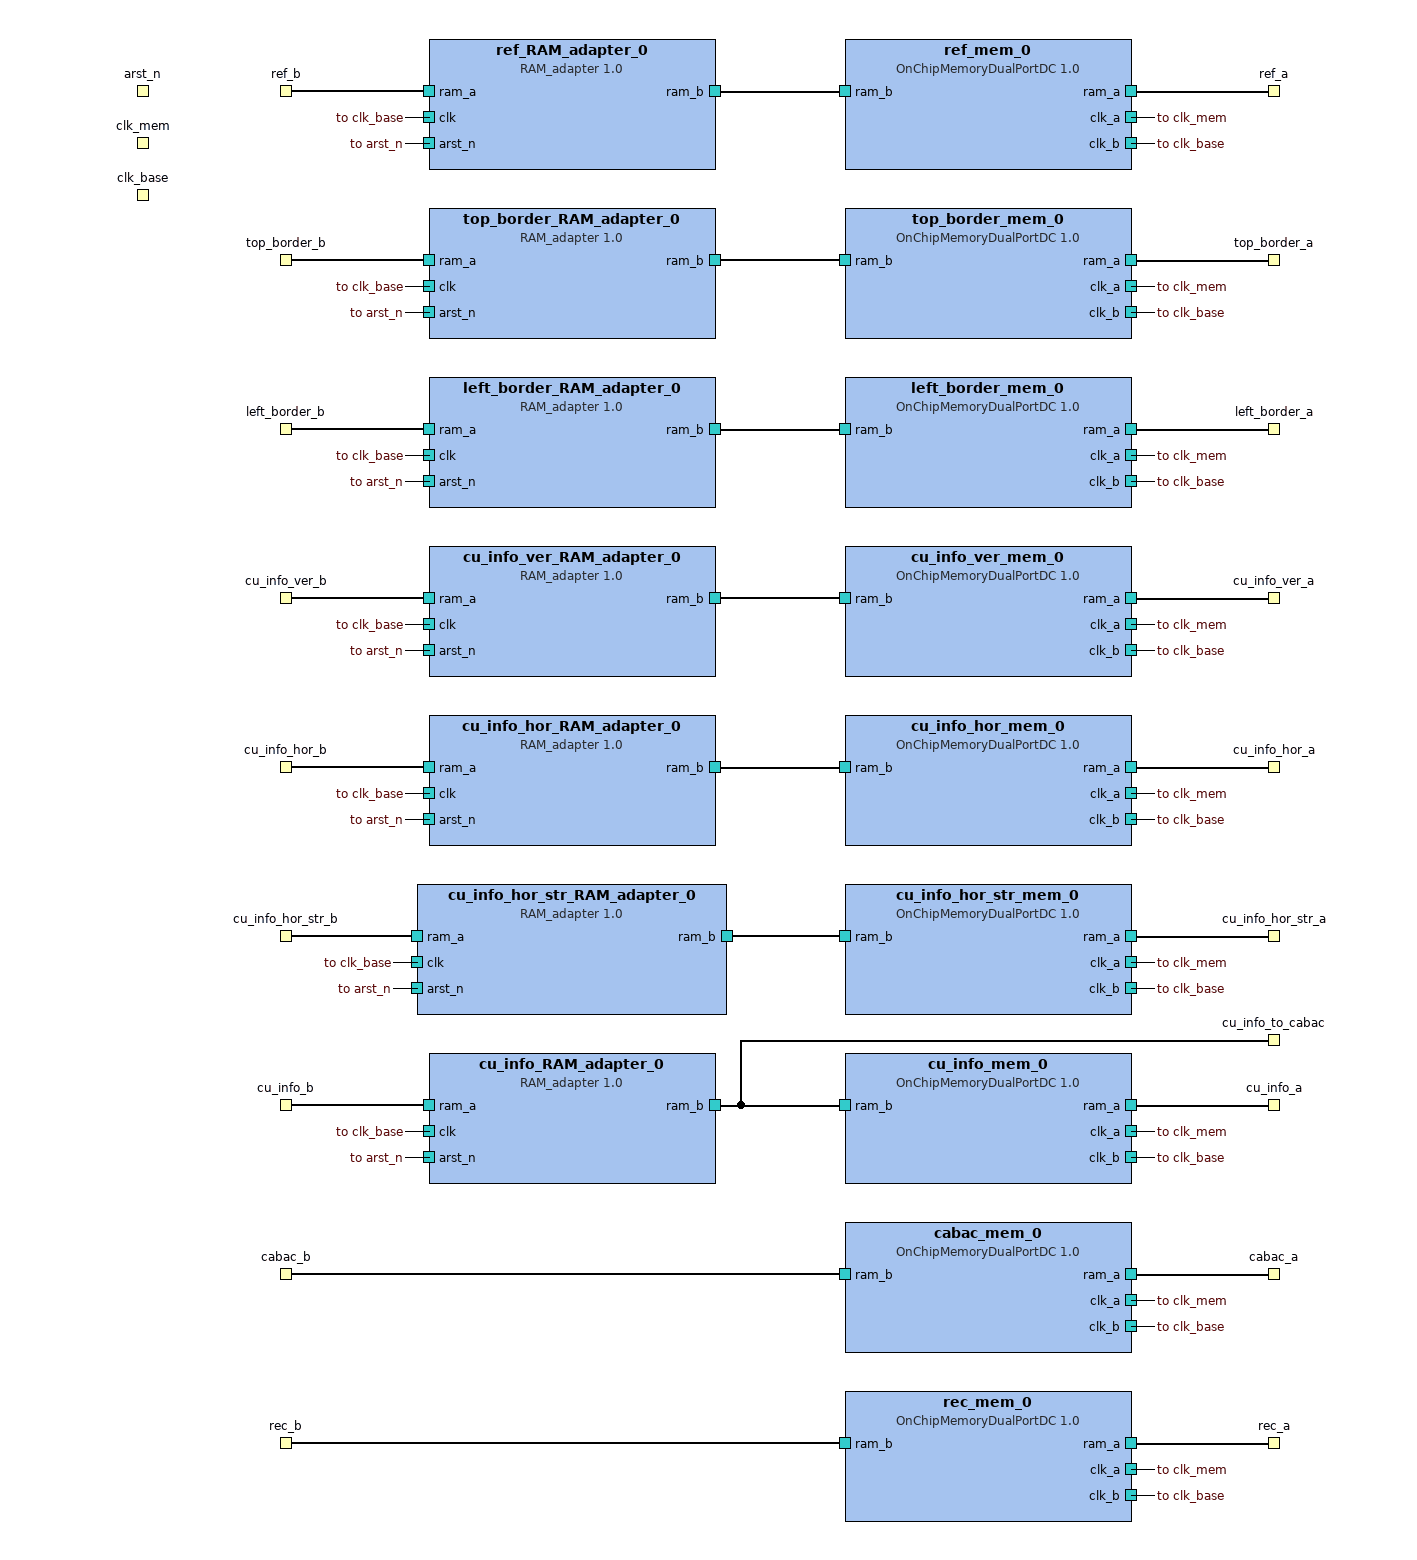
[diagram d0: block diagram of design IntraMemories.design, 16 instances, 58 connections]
<?xml version="1.0" encoding="UTF-8"?>
<ipxact:design xmlns:xsi="http://www.w3.org/2001/XMLSchema-instance" xmlns:ipxact="http://www.accellera.org/XMLSchema/IPXACT/1685-2014" xmlns:kactus2="http://kactus2.cs.tut.fi" xsi:schemaLocation="http://www.accellera.org/XMLSchema/IPXACT/1685-2014 http://www.accellera.org/XMLSchema/IPXACT/1685-2014/index.xsd"><ipxact:vendor>tuni.fi</ipxact:vendor><ipxact:library>Kvazaar</ipxact:library><ipxact:name>IntraMemories.design</ipxact:name>
 <ipxact:version>1.0</ipxact:version><ipxact:componentInstances>
 <ipxact:componentInstance><ipxact:instanceName>cu_info_ver_RAM_adapter_0</ipxact:instanceName>
  <ipxact:componentRef vendor="tuni.fi" library="Kvazaar" name="RAM_adapter" version="1.0">
   <ipxact:configurableElementValues><ipxact:configurableElementValue referenceId="uuid_d2a68f01_072a_420c_9c9b_f1bb3ebae7ae">uuid_0e300390_7a7d_4edb_a280_59ba7ead2955</ipxact:configurableElementValue><ipxact:configurableElementValue referenceId="uuid_c68389da_008c_4fe4_b7b1_1b5eb4a4834f">8</ipxact:configurableElementValue><ipxact:configurableElementValue referenceId="uuid_44101cd7_21c5_4352_a5f0_04738ed12f13">uuid_e2dec313_36f2_4e79_87c9_55f0c56399dd</ipxact:configurableElementValue>
   </ipxact:configurableElementValues>
  </ipxact:componentRef>
 </ipxact:componentInstance>
 <ipxact:componentInstance><ipxact:instanceName>left_border_RAM_adapter_0</ipxact:instanceName>
  <ipxact:componentRef vendor="tuni.fi" library="Kvazaar" name="RAM_adapter" version="1.0">
   <ipxact:configurableElementValues><ipxact:configurableElementValue referenceId="uuid_fc91dd5a_09bc_43f0_9349_c5a8e2656498">32</ipxact:configurableElementValue><ipxact:configurableElementValue referenceId="uuid_c68389da_008c_4fe4_b7b1_1b5eb4a4834f">10</ipxact:configurableElementValue><ipxact:configurableElementValue referenceId="uuid_d2a68f01_072a_420c_9c9b_f1bb3ebae7ae">uuid_d88f818c_3c12_4328_8aab_42f5d87a7758</ipxact:configurableElementValue>
    <ipxact:configurableElementValue referenceId="uuid_44101cd7_21c5_4352_a5f0_04738ed12f13">uuid_e2dec313_36f2_4e79_87c9_55f0c56399dd</ipxact:configurableElementValue>
   </ipxact:configurableElementValues>
  </ipxact:componentRef>
 </ipxact:componentInstance>
 <ipxact:componentInstance><ipxact:instanceName>top_border_RAM_adapter_0</ipxact:instanceName>
  <ipxact:componentRef vendor="tuni.fi" library="Kvazaar" name="RAM_adapter" version="1.0">
   <ipxact:configurableElementValues><ipxact:configurableElementValue referenceId="uuid_fc91dd5a_09bc_43f0_9349_c5a8e2656498">32</ipxact:configurableElementValue><ipxact:configurableElementValue referenceId="uuid_c68389da_008c_4fe4_b7b1_1b5eb4a4834f">10</ipxact:configurableElementValue><ipxact:configurableElementValue referenceId="uuid_d2a68f01_072a_420c_9c9b_f1bb3ebae7ae">uuid_d88f818c_3c12_4328_8aab_42f5d87a7758</ipxact:configurableElementValue>
    <ipxact:configurableElementValue referenceId="uuid_44101cd7_21c5_4352_a5f0_04738ed12f13">uuid_e2dec313_36f2_4e79_87c9_55f0c56399dd</ipxact:configurableElementValue>
   </ipxact:configurableElementValues>
  </ipxact:componentRef>
 </ipxact:componentInstance>
 <ipxact:componentInstance><ipxact:instanceName>cu_info_hor_str_RAM_adapter_0</ipxact:instanceName>
  <ipxact:componentRef vendor="tuni.fi" library="Kvazaar" name="RAM_adapter" version="1.0">
   <ipxact:configurableElementValues><ipxact:configurableElementValue referenceId="uuid_d2a68f01_072a_420c_9c9b_f1bb3ebae7ae">uuid_0e300390_7a7d_4edb_a280_59ba7ead2955</ipxact:configurableElementValue><ipxact:configurableElementValue referenceId="uuid_c68389da_008c_4fe4_b7b1_1b5eb4a4834f">8</ipxact:configurableElementValue><ipxact:configurableElementValue referenceId="uuid_44101cd7_21c5_4352_a5f0_04738ed12f13">uuid_e2dec313_36f2_4e79_87c9_55f0c56399dd</ipxact:configurableElementValue>
   </ipxact:configurableElementValues>
  </ipxact:componentRef>
 </ipxact:componentInstance>
 <ipxact:componentInstance><ipxact:instanceName>cu_info_hor_RAM_adapter_0</ipxact:instanceName>
  <ipxact:componentRef vendor="tuni.fi" library="Kvazaar" name="RAM_adapter" version="1.0">
   <ipxact:configurableElementValues><ipxact:configurableElementValue referenceId="uuid_d2a68f01_072a_420c_9c9b_f1bb3ebae7ae">uuid_0e300390_7a7d_4edb_a280_59ba7ead2955</ipxact:configurableElementValue><ipxact:configurableElementValue referenceId="uuid_c68389da_008c_4fe4_b7b1_1b5eb4a4834f">8</ipxact:configurableElementValue><ipxact:configurableElementValue referenceId="uuid_44101cd7_21c5_4352_a5f0_04738ed12f13">uuid_e2dec313_36f2_4e79_87c9_55f0c56399dd</ipxact:configurableElementValue>
   </ipxact:configurableElementValues>
  </ipxact:componentRef>
 </ipxact:componentInstance>
 <ipxact:componentInstance><ipxact:instanceName>ref_RAM_adapter_0</ipxact:instanceName>
  <ipxact:componentRef vendor="tuni.fi" library="Kvazaar" name="RAM_adapter" version="1.0">
   <ipxact:configurableElementValues><ipxact:configurableElementValue referenceId="uuid_fc91dd5a_09bc_43f0_9349_c5a8e2656498">32</ipxact:configurableElementValue><ipxact:configurableElementValue referenceId="uuid_c68389da_008c_4fe4_b7b1_1b5eb4a4834f">15</ipxact:configurableElementValue><ipxact:configurableElementValue referenceId="uuid_d2a68f01_072a_420c_9c9b_f1bb3ebae7ae">uuid_f38d286b_2a91_458f_8596_81d8761c0882</ipxact:configurableElementValue>
    <ipxact:configurableElementValue referenceId="uuid_44101cd7_21c5_4352_a5f0_04738ed12f13">uuid_e2dec313_36f2_4e79_87c9_55f0c56399dd</ipxact:configurableElementValue>
   </ipxact:configurableElementValues>
  </ipxact:componentRef>
 </ipxact:componentInstance>
 <ipxact:componentInstance><ipxact:instanceName>cu_info_RAM_adapter_0</ipxact:instanceName>
  <ipxact:componentRef vendor="tuni.fi" library="Kvazaar" name="RAM_adapter" version="1.0">
   <ipxact:configurableElementValues><ipxact:configurableElementValue referenceId="uuid_fc91dd5a_09bc_43f0_9349_c5a8e2656498">32</ipxact:configurableElementValue><ipxact:configurableElementValue referenceId="uuid_c68389da_008c_4fe4_b7b1_1b5eb4a4834f">12</ipxact:configurableElementValue><ipxact:configurableElementValue referenceId="uuid_d2a68f01_072a_420c_9c9b_f1bb3ebae7ae">uuid_0c10230c_005a_42e3_b31e_de970c9bc037</ipxact:configurableElementValue>
    <ipxact:configurableElementValue referenceId="uuid_44101cd7_21c5_4352_a5f0_04738ed12f13">uuid_e2dec313_36f2_4e79_87c9_55f0c56399dd</ipxact:configurableElementValue>
   </ipxact:configurableElementValues>
  </ipxact:componentRef>
 </ipxact:componentInstance>
 <ipxact:componentInstance><ipxact:instanceName>top_border_mem_0</ipxact:instanceName>
  <ipxact:componentRef vendor="tuni.fi" library="Kvazaar" name="OnChipMemoryDualPortDC" version="1.0">
   <ipxact:configurableElementValues><ipxact:configurableElementValue referenceId="uuid_f51bb75b_c308_4c8b_9bbf_5a7683439515">uuid_d88f818c_3c12_4328_8aab_42f5d87a7758</ipxact:configurableElementValue><ipxact:configurableElementValue referenceId="uuid_24864773_73dd_43cc_aa29_121c94111e73">uuid_e2dec313_36f2_4e79_87c9_55f0c56399dd</ipxact:configurableElementValue><ipxact:configurableElementValue referenceId="uuid_8d7b5202_0f0c_49d7_a425_bb64dfcf8a52">uuid_e2dec313_36f2_4e79_87c9_55f0c56399dd</ipxact:configurableElementValue>
    <ipxact:configurableElementValue referenceId="uuid_5f9ae38f_e460_4bab_9dc8_ced971dd2221">uuid_d88f818c_3c12_4328_8aab_42f5d87a7758</ipxact:configurableElementValue>
   </ipxact:configurableElementValues>
  </ipxact:componentRef>
 </ipxact:componentInstance>
 <ipxact:componentInstance><ipxact:instanceName>cu_info_ver_mem_0</ipxact:instanceName>
  <ipxact:componentRef vendor="tuni.fi" library="Kvazaar" name="OnChipMemoryDualPortDC" version="1.0">
   <ipxact:configurableElementValues><ipxact:configurableElementValue referenceId="uuid_f51bb75b_c308_4c8b_9bbf_5a7683439515">uuid_0e300390_7a7d_4edb_a280_59ba7ead2955</ipxact:configurableElementValue><ipxact:configurableElementValue referenceId="uuid_5f9ae38f_e460_4bab_9dc8_ced971dd2221">uuid_0e300390_7a7d_4edb_a280_59ba7ead2955</ipxact:configurableElementValue><ipxact:configurableElementValue referenceId="uuid_24864773_73dd_43cc_aa29_121c94111e73">uuid_e2dec313_36f2_4e79_87c9_55f0c56399dd</ipxact:configurableElementValue>
    <ipxact:configurableElementValue referenceId="uuid_8d7b5202_0f0c_49d7_a425_bb64dfcf8a52">uuid_e2dec313_36f2_4e79_87c9_55f0c56399dd</ipxact:configurableElementValue>
   </ipxact:configurableElementValues>
  </ipxact:componentRef>
 </ipxact:componentInstance>
 <ipxact:componentInstance><ipxact:instanceName>rec_mem_0</ipxact:instanceName>
  <ipxact:componentRef vendor="tuni.fi" library="Kvazaar" name="OnChipMemoryDualPortDC" version="1.0">
   <ipxact:configurableElementValues><ipxact:configurableElementValue referenceId="uuid_f51bb75b_c308_4c8b_9bbf_5a7683439515">uuid_cfc960e4_bae4_4962_8d59_9bf9b71e52ee</ipxact:configurableElementValue><ipxact:configurableElementValue referenceId="uuid_5f9ae38f_e460_4bab_9dc8_ced971dd2221">12</ipxact:configurableElementValue><ipxact:configurableElementValue referenceId="uuid_24864773_73dd_43cc_aa29_121c94111e73">uuid_e2dec313_36f2_4e79_87c9_55f0c56399dd</ipxact:configurableElementValue>
    <ipxact:configurableElementValue referenceId="uuid_8d7b5202_0f0c_49d7_a425_bb64dfcf8a52">256</ipxact:configurableElementValue>
   </ipxact:configurableElementValues>
  </ipxact:componentRef>
 </ipxact:componentInstance>
 <ipxact:componentInstance><ipxact:instanceName>ref_mem_0</ipxact:instanceName>
  <ipxact:componentRef vendor="tuni.fi" library="Kvazaar" name="OnChipMemoryDualPortDC" version="1.0">
   <ipxact:configurableElementValues><ipxact:configurableElementValue referenceId="uuid_f51bb75b_c308_4c8b_9bbf_5a7683439515">uuid_f38d286b_2a91_458f_8596_81d8761c0882</ipxact:configurableElementValue><ipxact:configurableElementValue referenceId="uuid_5f9ae38f_e460_4bab_9dc8_ced971dd2221">uuid_f38d286b_2a91_458f_8596_81d8761c0882</ipxact:configurableElementValue><ipxact:configurableElementValue referenceId="uuid_24864773_73dd_43cc_aa29_121c94111e73">uuid_e2dec313_36f2_4e79_87c9_55f0c56399dd</ipxact:configurableElementValue>
    <ipxact:configurableElementValue referenceId="uuid_8d7b5202_0f0c_49d7_a425_bb64dfcf8a52">uuid_e2dec313_36f2_4e79_87c9_55f0c56399dd</ipxact:configurableElementValue>
   </ipxact:configurableElementValues>
  </ipxact:componentRef>
 </ipxact:componentInstance>
 <ipxact:componentInstance><ipxact:instanceName>cu_info_hor_mem_0</ipxact:instanceName>
  <ipxact:componentRef vendor="tuni.fi" library="Kvazaar" name="OnChipMemoryDualPortDC" version="1.0">
   <ipxact:configurableElementValues><ipxact:configurableElementValue referenceId="uuid_f51bb75b_c308_4c8b_9bbf_5a7683439515">uuid_0e300390_7a7d_4edb_a280_59ba7ead2955</ipxact:configurableElementValue><ipxact:configurableElementValue referenceId="uuid_5f9ae38f_e460_4bab_9dc8_ced971dd2221">uuid_0e300390_7a7d_4edb_a280_59ba7ead2955</ipxact:configurableElementValue><ipxact:configurableElementValue referenceId="uuid_8d7b5202_0f0c_49d7_a425_bb64dfcf8a52">uuid_e2dec313_36f2_4e79_87c9_55f0c56399dd</ipxact:configurableElementValue>
    <ipxact:configurableElementValue referenceId="uuid_24864773_73dd_43cc_aa29_121c94111e73">uuid_e2dec313_36f2_4e79_87c9_55f0c56399dd</ipxact:configurableElementValue>
   </ipxact:configurableElementValues>
  </ipxact:componentRef>
 </ipxact:componentInstance>
 <ipxact:componentInstance><ipxact:instanceName>cu_info_mem_0</ipxact:instanceName>
  <ipxact:componentRef vendor="tuni.fi" library="Kvazaar" name="OnChipMemoryDualPortDC" version="1.0">
   <ipxact:configurableElementValues><ipxact:configurableElementValue referenceId="uuid_f51bb75b_c308_4c8b_9bbf_5a7683439515">uuid_0c10230c_005a_42e3_b31e_de970c9bc037</ipxact:configurableElementValue><ipxact:configurableElementValue referenceId="uuid_5f9ae38f_e460_4bab_9dc8_ced971dd2221">uuid_0c10230c_005a_42e3_b31e_de970c9bc037</ipxact:configurableElementValue><ipxact:configurableElementValue referenceId="uuid_24864773_73dd_43cc_aa29_121c94111e73">uuid_e2dec313_36f2_4e79_87c9_55f0c56399dd</ipxact:configurableElementValue>
    <ipxact:configurableElementValue referenceId="uuid_8d7b5202_0f0c_49d7_a425_bb64dfcf8a52">uuid_e2dec313_36f2_4e79_87c9_55f0c56399dd</ipxact:configurableElementValue>
   </ipxact:configurableElementValues>
  </ipxact:componentRef>
 </ipxact:componentInstance>
 <ipxact:componentInstance><ipxact:instanceName>left_border_mem_0</ipxact:instanceName>
  <ipxact:componentRef vendor="tuni.fi" library="Kvazaar" name="OnChipMemoryDualPortDC" version="1.0">
   <ipxact:configurableElementValues><ipxact:configurableElementValue referenceId="uuid_24864773_73dd_43cc_aa29_121c94111e73">uuid_e2dec313_36f2_4e79_87c9_55f0c56399dd</ipxact:configurableElementValue><ipxact:configurableElementValue referenceId="uuid_8d7b5202_0f0c_49d7_a425_bb64dfcf8a52">uuid_e2dec313_36f2_4e79_87c9_55f0c56399dd</ipxact:configurableElementValue><ipxact:configurableElementValue referenceId="uuid_f51bb75b_c308_4c8b_9bbf_5a7683439515">uuid_d88f818c_3c12_4328_8aab_42f5d87a7758</ipxact:configurableElementValue>
    <ipxact:configurableElementValue referenceId="uuid_5f9ae38f_e460_4bab_9dc8_ced971dd2221">uuid_d88f818c_3c12_4328_8aab_42f5d87a7758</ipxact:configurableElementValue>
   </ipxact:configurableElementValues>
  </ipxact:componentRef>
 </ipxact:componentInstance>
 <ipxact:componentInstance><ipxact:instanceName>cu_info_hor_str_mem_0</ipxact:instanceName>
  <ipxact:componentRef vendor="tuni.fi" library="Kvazaar" name="OnChipMemoryDualPortDC" version="1.0">
   <ipxact:configurableElementValues><ipxact:configurableElementValue referenceId="uuid_f51bb75b_c308_4c8b_9bbf_5a7683439515">uuid_0e300390_7a7d_4edb_a280_59ba7ead2955</ipxact:configurableElementValue><ipxact:configurableElementValue referenceId="uuid_5f9ae38f_e460_4bab_9dc8_ced971dd2221">uuid_0e300390_7a7d_4edb_a280_59ba7ead2955</ipxact:configurableElementValue><ipxact:configurableElementValue referenceId="uuid_8d7b5202_0f0c_49d7_a425_bb64dfcf8a52">uuid_e2dec313_36f2_4e79_87c9_55f0c56399dd</ipxact:configurableElementValue>
    <ipxact:configurableElementValue referenceId="uuid_24864773_73dd_43cc_aa29_121c94111e73">uuid_e2dec313_36f2_4e79_87c9_55f0c56399dd</ipxact:configurableElementValue>
   </ipxact:configurableElementValues>
  </ipxact:componentRef>
 </ipxact:componentInstance>
 <ipxact:componentInstance><ipxact:instanceName>cabac_mem_0</ipxact:instanceName>
  <ipxact:componentRef vendor="tuni.fi" library="Kvazaar" name="OnChipMemoryDualPortDC" version="1.0">
   <ipxact:configurableElementValues><ipxact:configurableElementValue referenceId="uuid_f51bb75b_c308_4c8b_9bbf_5a7683439515">uuid_7d8a98bd_1810_453a_a539_9be70423191b</ipxact:configurableElementValue><ipxact:configurableElementValue referenceId="uuid_5f9ae38f_e460_4bab_9dc8_ced971dd2221">uuid_7d8a98bd_1810_453a_a539_9be70423191b</ipxact:configurableElementValue><ipxact:configurableElementValue referenceId="uuid_24864773_73dd_43cc_aa29_121c94111e73">uuid_e2dec313_36f2_4e79_87c9_55f0c56399dd</ipxact:configurableElementValue>
   </ipxact:configurableElementValues>
  </ipxact:componentRef>
 </ipxact:componentInstance>
</ipxact:componentInstances><ipxact:interconnections>
 <ipxact:interconnection><ipxact:name>ref_RAM_adapter_0_ram_b_to_ref_mem_0_ram_b</ipxact:name><ipxact:activeInterface componentRef="ref_RAM_adapter_0" busRef="ram_b"/><ipxact:activeInterface componentRef="ref_mem_0" busRef="ram_b"/></ipxact:interconnection>
 <ipxact:interconnection><ipxact:name>top_border_mem_0_ram_b_to_top_border_RAM_adapter_0_ram_b</ipxact:name><ipxact:activeInterface componentRef="top_border_mem_0" busRef="ram_b"/><ipxact:activeInterface componentRef="top_border_RAM_adapter_0" busRef="ram_b"/></ipxact:interconnection>
 <ipxact:interconnection><ipxact:name>left_border_RAM_adapter_0_ram_b_to_left_border_mem_0_ram_b</ipxact:name><ipxact:activeInterface componentRef="left_border_RAM_adapter_0" busRef="ram_b"/><ipxact:activeInterface componentRef="left_border_mem_0" busRef="ram_b"/></ipxact:interconnection>
 <ipxact:interconnection><ipxact:name>cu_info_ver_mem_0_ram_b_to_cu_info_ver_RAM_adapter_0_ram_b</ipxact:name><ipxact:activeInterface componentRef="cu_info_ver_mem_0" busRef="ram_b"/><ipxact:activeInterface componentRef="cu_info_ver_RAM_adapter_0" busRef="ram_b"/></ipxact:interconnection>
 <ipxact:interconnection><ipxact:name>cu_info_hor_RAM_adapter_0_ram_b_to_cu_info_hor_mem_0_ram_b</ipxact:name><ipxact:activeInterface componentRef="cu_info_hor_RAM_adapter_0" busRef="ram_b"/><ipxact:activeInterface componentRef="cu_info_hor_mem_0" busRef="ram_b"/></ipxact:interconnection>
 <ipxact:interconnection><ipxact:name>cu_info_hor_str_mem_0_ram_b_to_cu_info_hor_str_RAM_adapter_0_ram_b</ipxact:name><ipxact:activeInterface componentRef="cu_info_hor_str_mem_0" busRef="ram_b"/><ipxact:activeInterface componentRef="cu_info_hor_str_RAM_adapter_0" busRef="ram_b"/></ipxact:interconnection>
 <ipxact:interconnection><ipxact:name>cu_info_RAM_adapter_0_ram_b_to_cu_info_mem_0_ram_b</ipxact:name><ipxact:activeInterface componentRef="cu_info_RAM_adapter_0" busRef="ram_b"/><ipxact:activeInterface componentRef="cu_info_mem_0" busRef="ram_b"/></ipxact:interconnection>
 <ipxact:interconnection><ipxact:name>ref_RAM_adapter_0_arst_n_to_bus_1</ipxact:name><ipxact:activeInterface componentRef="ref_RAM_adapter_0" busRef="arst_n"/><ipxact:hierInterface busRef="arst_n"/></ipxact:interconnection>
 <ipxact:interconnection><ipxact:name>top_border_RAM_adapter_0_arst_n_to_arst_n</ipxact:name><ipxact:activeInterface componentRef="top_border_RAM_adapter_0" busRef="arst_n"/><ipxact:hierInterface busRef="arst_n"/></ipxact:interconnection>
 <ipxact:interconnection><ipxact:name>left_border_RAM_adapter_0_arst_n_to_arst_n</ipxact:name><ipxact:activeInterface componentRef="left_border_RAM_adapter_0" busRef="arst_n"/><ipxact:hierInterface busRef="arst_n"/></ipxact:interconnection>
 <ipxact:interconnection><ipxact:name>cu_info_ver_RAM_adapter_0_arst_n_to_arst_n</ipxact:name><ipxact:activeInterface componentRef="cu_info_ver_RAM_adapter_0" busRef="arst_n"/><ipxact:hierInterface busRef="arst_n"/></ipxact:interconnection>
 <ipxact:interconnection><ipxact:name>cu_info_hor_RAM_adapter_0_arst_n_to_arst_n</ipxact:name><ipxact:activeInterface componentRef="cu_info_hor_RAM_adapter_0" busRef="arst_n"/><ipxact:hierInterface busRef="arst_n"/></ipxact:interconnection>
 <ipxact:interconnection><ipxact:name>cu_info_hor_str_RAM_adapter_0_arst_n_to_arst_n</ipxact:name><ipxact:activeInterface componentRef="cu_info_hor_str_RAM_adapter_0" busRef="arst_n"/><ipxact:hierInterface busRef="arst_n"/></ipxact:interconnection>
 <ipxact:interconnection><ipxact:name>cu_info_RAM_adapter_0_arst_n_to_arst_n</ipxact:name><ipxact:activeInterface componentRef="cu_info_RAM_adapter_0" busRef="arst_n"/><ipxact:hierInterface busRef="arst_n"/></ipxact:interconnection>
 <ipxact:interconnection><ipxact:name>ref_mem_0_clk_a_to_clk_mem</ipxact:name><ipxact:activeInterface componentRef="ref_mem_0" busRef="clk_a"/><ipxact:hierInterface busRef="clk_mem"/></ipxact:interconnection>
 <ipxact:interconnection><ipxact:name>top_border_mem_0_clk_a_to_clk_mem</ipxact:name><ipxact:activeInterface componentRef="top_border_mem_0" busRef="clk_a"/><ipxact:hierInterface busRef="clk_mem"/></ipxact:interconnection>
 <ipxact:interconnection><ipxact:name>left_border_mem_0_clk_a_to_clk_mem</ipxact:name><ipxact:activeInterface componentRef="left_border_mem_0" busRef="clk_a"/><ipxact:hierInterface busRef="clk_mem"/></ipxact:interconnection>
 <ipxact:interconnection><ipxact:name>cu_info_ver_mem_0_clk_a_to_clk_mem</ipxact:name><ipxact:activeInterface componentRef="cu_info_ver_mem_0" busRef="clk_a"/><ipxact:hierInterface busRef="clk_mem"/></ipxact:interconnection>
 <ipxact:interconnection><ipxact:name>cu_info_hor_mem_0_clk_a_to_clk_mem</ipxact:name><ipxact:activeInterface componentRef="cu_info_hor_mem_0" busRef="clk_a"/><ipxact:hierInterface busRef="clk_mem"/></ipxact:interconnection>
 <ipxact:interconnection><ipxact:name>cu_info_hor_str_mem_0_clk_a_to_clk_mem</ipxact:name><ipxact:activeInterface componentRef="cu_info_hor_str_mem_0" busRef="clk_a"/><ipxact:hierInterface busRef="clk_mem"/></ipxact:interconnection>
 <ipxact:interconnection><ipxact:name>cu_info_mem_0_clk_a_to_clk_mem</ipxact:name><ipxact:activeInterface componentRef="cu_info_mem_0" busRef="clk_a"/><ipxact:hierInterface busRef="clk_mem"/></ipxact:interconnection>
 <ipxact:interconnection><ipxact:name>cabac_mem_0_clk_a_to_clk_mem</ipxact:name><ipxact:activeInterface componentRef="cabac_mem_0" busRef="clk_a"/><ipxact:hierInterface busRef="clk_mem"/></ipxact:interconnection>
 <ipxact:interconnection><ipxact:name>rec_mem_0_clk_a_to_clk_mem</ipxact:name><ipxact:activeInterface componentRef="rec_mem_0" busRef="clk_a"/><ipxact:hierInterface busRef="clk_mem"/></ipxact:interconnection>
 <ipxact:interconnection><ipxact:name>ref_RAM_adapter_0_clk_to_clk_base</ipxact:name><ipxact:activeInterface componentRef="ref_RAM_adapter_0" busRef="clk"/><ipxact:hierInterface busRef="clk_base"/></ipxact:interconnection>
 <ipxact:interconnection><ipxact:name>top_border_RAM_adapter_0_clk_to_clk_base</ipxact:name><ipxact:activeInterface componentRef="top_border_RAM_adapter_0" busRef="clk"/><ipxact:hierInterface busRef="clk_base"/></ipxact:interconnection>
 <ipxact:interconnection><ipxact:name>left_border_RAM_adapter_0_clk_to_clk_base</ipxact:name><ipxact:activeInterface componentRef="left_border_RAM_adapter_0" busRef="clk"/><ipxact:hierInterface busRef="clk_base"/></ipxact:interconnection>
 <ipxact:interconnection><ipxact:name>cu_info_ver_RAM_adapter_0_clk_to_clk_base</ipxact:name><ipxact:activeInterface componentRef="cu_info_ver_RAM_adapter_0" busRef="clk"/><ipxact:hierInterface busRef="clk_base"/></ipxact:interconnection>
 <ipxact:interconnection><ipxact:name>cu_info_hor_RAM_adapter_0_clk_to_clk_base</ipxact:name><ipxact:activeInterface componentRef="cu_info_hor_RAM_adapter_0" busRef="clk"/><ipxact:hierInterface busRef="clk_base"/></ipxact:interconnection>
 <ipxact:interconnection><ipxact:name>cu_info_hor_str_RAM_adapter_0_clk_to_clk_base</ipxact:name><ipxact:activeInterface componentRef="cu_info_hor_str_RAM_adapter_0" busRef="clk"/><ipxact:hierInterface busRef="clk_base"/></ipxact:interconnection>
 <ipxact:interconnection><ipxact:name>cu_info_RAM_adapter_0_clk_to_clk_base</ipxact:name><ipxact:activeInterface componentRef="cu_info_RAM_adapter_0" busRef="clk"/><ipxact:hierInterface busRef="clk_base"/></ipxact:interconnection>
 <ipxact:interconnection><ipxact:name>ref_mem_0_clk_b_to_clk_base</ipxact:name><ipxact:activeInterface componentRef="ref_mem_0" busRef="clk_b"/><ipxact:hierInterface busRef="clk_base"/></ipxact:interconnection>
 <ipxact:interconnection><ipxact:name>top_border_mem_0_clk_b_to_clk_base</ipxact:name><ipxact:activeInterface componentRef="top_border_mem_0" busRef="clk_b"/><ipxact:hierInterface busRef="clk_base"/></ipxact:interconnection>
 <ipxact:interconnection><ipxact:name>left_border_mem_0_clk_b_to_clk_base</ipxact:name><ipxact:activeInterface componentRef="left_border_mem_0" busRef="clk_b"/><ipxact:hierInterface busRef="clk_base"/></ipxact:interconnection>
 <ipxact:interconnection><ipxact:name>cu_info_ver_mem_0_clk_b_to_clk_base</ipxact:name><ipxact:activeInterface componentRef="cu_info_ver_mem_0" busRef="clk_b"/><ipxact:hierInterface busRef="clk_base"/></ipxact:interconnection>
 <ipxact:interconnection><ipxact:name>cu_info_hor_mem_0_clk_b_to_clk_base</ipxact:name><ipxact:activeInterface componentRef="cu_info_hor_mem_0" busRef="clk_b"/><ipxact:hierInterface busRef="clk_base"/></ipxact:interconnection>
 <ipxact:interconnection><ipxact:name>cu_info_hor_str_mem_0_clk_b_to_clk_base</ipxact:name><ipxact:activeInterface componentRef="cu_info_hor_str_mem_0" busRef="clk_b"/><ipxact:hierInterface busRef="clk_base"/></ipxact:interconnection>
 <ipxact:interconnection><ipxact:name>cu_info_mem_0_clk_b_to_clk_base</ipxact:name><ipxact:activeInterface componentRef="cu_info_mem_0" busRef="clk_b"/><ipxact:hierInterface busRef="clk_base"/></ipxact:interconnection>
 <ipxact:interconnection><ipxact:name>cabac_mem_0_clk_b_to_clk_base</ipxact:name><ipxact:activeInterface componentRef="cabac_mem_0" busRef="clk_b"/><ipxact:hierInterface busRef="clk_base"/></ipxact:interconnection>
 <ipxact:interconnection><ipxact:name>rec_mem_0_clk_b_to_clk_base</ipxact:name><ipxact:activeInterface componentRef="rec_mem_0" busRef="clk_b"/><ipxact:hierInterface busRef="clk_base"/></ipxact:interconnection>
 <ipxact:interconnection><ipxact:name>ref_RAM_adapter_0_ram_a_to_ref_b</ipxact:name><ipxact:activeInterface componentRef="ref_RAM_adapter_0" busRef="ram_a"/><ipxact:hierInterface busRef="ref_b"/></ipxact:interconnection>
 <ipxact:interconnection><ipxact:name>ref_mem_0_ram_a_to_ref_a</ipxact:name><ipxact:activeInterface componentRef="ref_mem_0" busRef="ram_a"/><ipxact:hierInterface busRef="ref_a"/></ipxact:interconnection>
 <ipxact:interconnection><ipxact:name>top_border_mem_0_ram_a_to_top_border_a</ipxact:name><ipxact:activeInterface componentRef="top_border_mem_0" busRef="ram_a"/><ipxact:hierInterface busRef="top_border_a"/></ipxact:interconnection>
 <ipxact:interconnection><ipxact:name>top_border_RAM_adapter_0_ram_a_to_top_border_b</ipxact:name><ipxact:activeInterface componentRef="top_border_RAM_adapter_0" busRef="ram_a"/><ipxact:hierInterface busRef="top_border_b"/></ipxact:interconnection>
 <ipxact:interconnection><ipxact:name>left_border_RAM_adapter_0_ram_a_to_left_border_b</ipxact:name><ipxact:activeInterface componentRef="left_border_RAM_adapter_0" busRef="ram_a"/><ipxact:hierInterface busRef="left_border_b"/></ipxact:interconnection>
 <ipxact:interconnection><ipxact:name>left_border_mem_0_ram_a_to_left_border_a</ipxact:name><ipxact:activeInterface componentRef="left_border_mem_0" busRef="ram_a"/><ipxact:hierInterface busRef="left_border_a"/></ipxact:interconnection>
 <ipxact:interconnection><ipxact:name>cu_info_ver_RAM_adapter_0_ram_a_to_cu_info_ver_b</ipxact:name><ipxact:activeInterface componentRef="cu_info_ver_RAM_adapter_0" busRef="ram_a"/><ipxact:hierInterface busRef="cu_info_ver_b"/></ipxact:interconnection>
 <ipxact:interconnection><ipxact:name>cu_info_ver_mem_0_ram_a_to_cu_info_ver_a</ipxact:name><ipxact:activeInterface componentRef="cu_info_ver_mem_0" busRef="ram_a"/><ipxact:hierInterface busRef="cu_info_ver_a"/></ipxact:interconnection>
 <ipxact:interconnection><ipxact:name>cu_info_hor_RAM_adapter_0_ram_a_to_cu_info_hor_b</ipxact:name><ipxact:activeInterface componentRef="cu_info_hor_RAM_adapter_0" busRef="ram_a"/><ipxact:hierInterface busRef="cu_info_hor_b"/></ipxact:interconnection>
 <ipxact:interconnection><ipxact:name>cu_info_hor_mem_0_ram_a_to_cu_info_hor_a</ipxact:name><ipxact:activeInterface componentRef="cu_info_hor_mem_0" busRef="ram_a"/><ipxact:hierInterface busRef="cu_info_hor_a"/></ipxact:interconnection>
 <ipxact:interconnection><ipxact:name>cu_info_hor_str_mem_0_ram_a_to_cu_info_hor_str_a</ipxact:name><ipxact:activeInterface componentRef="cu_info_hor_str_mem_0" busRef="ram_a"/><ipxact:hierInterface busRef="cu_info_hor_str_a"/></ipxact:interconnection>
 <ipxact:interconnection><ipxact:name>cu_info_hor_str_RAM_adapter_0_ram_a_to_cu_info_hor_str_b</ipxact:name><ipxact:activeInterface componentRef="cu_info_hor_str_RAM_adapter_0" busRef="ram_a"/><ipxact:hierInterface busRef="cu_info_hor_str_b"/></ipxact:interconnection>
 <ipxact:interconnection><ipxact:name>cu_info_RAM_adapter_0_ram_a_to_cu_info_b</ipxact:name><ipxact:activeInterface componentRef="cu_info_RAM_adapter_0" busRef="ram_a"/><ipxact:hierInterface busRef="cu_info_b"/></ipxact:interconnection>
 <ipxact:interconnection><ipxact:name>cu_info_mem_0_ram_a_to_cu_info_a</ipxact:name><ipxact:activeInterface componentRef="cu_info_mem_0" busRef="ram_a"/><ipxact:hierInterface busRef="cu_info_a"/></ipxact:interconnection>
 <ipxact:interconnection><ipxact:name>cabac_mem_0_ram_a_to_cabac_a</ipxact:name><ipxact:activeInterface componentRef="cabac_mem_0" busRef="ram_a"/><ipxact:hierInterface busRef="cabac_a"/></ipxact:interconnection>
 <ipxact:interconnection><ipxact:name>rec_mem_0_ram_a_to_rec_a</ipxact:name><ipxact:activeInterface componentRef="rec_mem_0" busRef="ram_a"/><ipxact:hierInterface busRef="rec_a"/></ipxact:interconnection>
 <ipxact:interconnection><ipxact:name>cabac_mem_0_ram_b_to_cabac_b</ipxact:name><ipxact:activeInterface componentRef="cabac_mem_0" busRef="ram_b"/><ipxact:hierInterface busRef="cabac_b"/></ipxact:interconnection>
 <ipxact:interconnection><ipxact:name>rec_mem_0_ram_b_to_rec_b</ipxact:name><ipxact:activeInterface componentRef="rec_mem_0" busRef="ram_b"/><ipxact:hierInterface busRef="rec_b"/></ipxact:interconnection>
 <ipxact:interconnection><ipxact:name>cu_info_RAM_adapter_0_ram_b_to_cu_info_to_cabac</ipxact:name><ipxact:activeInterface componentRef="cu_info_RAM_adapter_0" busRef="ram_b"/><ipxact:hierInterface busRef="cu_info_to_cabac"/></ipxact:interconnection>
</ipxact:interconnections><ipxact:parameters>
 <ipxact:parameter kactus2:usageCount="23" parameterId="uuid_e2dec313_36f2_4e79_87c9_55f0c56399dd" resolve="user" type="int"><ipxact:name>mem_width</ipxact:name><ipxact:value>128</ipxact:value></ipxact:parameter>
 <ipxact:parameter kactus2:usageCount="3" parameterId="uuid_f38d286b_2a91_458f_8596_81d8761c0882" resolve="user" type="int"><ipxact:name>ref_addr</ipxact:name><ipxact:value>13</ipxact:value></ipxact:parameter>
 <ipxact:parameter kactus2:usageCount="6" parameterId="uuid_d88f818c_3c12_4328_8aab_42f5d87a7758" resolve="user" type="int"><ipxact:name>border_addr</ipxact:name><ipxact:value>8</ipxact:value></ipxact:parameter>
 <ipxact:parameter kactus2:usageCount="9" parameterId="uuid_0e300390_7a7d_4edb_a280_59ba7ead2955" resolve="user" type="int"><ipxact:name>cu_info_border_addr</ipxact:name><ipxact:value>4</ipxact:value></ipxact:parameter>
 <ipxact:parameter kactus2:usageCount="3" parameterId="uuid_0c10230c_005a_42e3_b31e_de970c9bc037" resolve="user" type="int"><ipxact:name>cu_info_addr</ipxact:name><ipxact:value>10</ipxact:value></ipxact:parameter>
 <ipxact:parameter kactus2:usageCount="2" parameterId="uuid_7d8a98bd_1810_453a_a539_9be70423191b" resolve="user" type="int"><ipxact:name>cabac_addr</ipxact:name><ipxact:value>4</ipxact:value></ipxact:parameter>
 <ipxact:parameter kactus2:usageCount="1" parameterId="uuid_cfc960e4_bae4_4962_8d59_9bf9b71e52ee" resolve="user" type="int"><ipxact:name>rec_addr</ipxact:name><ipxact:value>13</ipxact:value></ipxact:parameter>
</ipxact:parameters></ipxact:design>

